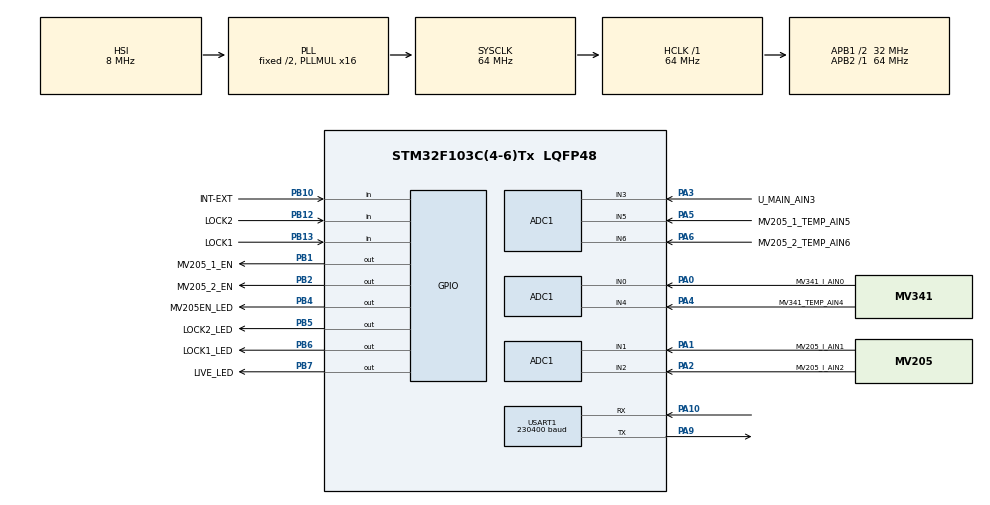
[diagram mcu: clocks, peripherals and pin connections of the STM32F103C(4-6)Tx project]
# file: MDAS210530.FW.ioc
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ADC1.Channel-0\#ChannelRegularConversion=ADC_CHANNEL_0
ADC1.ContinuousConvMode=DISABLE
ADC1.ExternalTrigConv=ADC_SOFTWARE_START
ADC1.NbrOfConversion=1
ADC1.NbrOfConversionFlag=1
ADC1.Rank-0\#ChannelRegularConversion=1
ADC1.SamplingTime-0\#ChannelRegularConversion=ADC_SAMPLETIME_1CYCLE_5
ADC1.master=1
Mcu.Family=STM32F1
Mcu.Name=STM32F103C(4-6)Tx
Mcu.Package=LQFP48
NVIC.PriorityGroup=NVIC_PRIORITYGROUP_4
NVIC.USART1_IRQn=true\:2\:0\:true\:false\:true\:true\:true\:true
PA0-WKUP.GPIO_Label=MV341_I_AIN0
PA0-WKUP.Signal=ADCx_IN0
PA1.GPIO_Label=MV205_I_AIN1
PA1.Signal=ADCx_IN1
PA10.Mode=Asynchronous
PA10.Signal=USART1_RX
PA13.Mode=Trace_Asynchronous_SW
PA13.Signal=SYS_JTMS-SWDIO
PA14.Mode=Trace_Asynchronous_SW
PA14.Signal=SYS_JTCK-SWCLK
PA2.GPIO_Label=MV205_I_AIN2
PA2.Signal=ADCx_IN2
PA3.GPIO_Label=U_MAIN_AIN3
PA3.Signal=ADCx_IN3
PA4.GPIO_Label=MV341_TEMP_AIN4
PA4.Signal=ADCx_IN4
PA5.GPIO_Label=MV205_1_TEMP_AIN5
PA5.Signal=ADCx_IN5
PA6.GPIO_Label=MV205_2_TEMP_AIN6
PA6.Signal=ADCx_IN6
PA9.Mode=Asynchronous
PA9.Signal=USART1_TX
PB1.GPIO_Label=MV205_1_EN
PB1.Signal=GPIO_Output
PB10.GPIO_Label=INT-EXT
PB10.Signal=GPIO_Input
PB12.GPIO_Label=LOCK2
PB12.Signal=GPIO_Input
PB13.GPIO_Label=LOCK1
PB13.Signal=GPIO_Input
PB2.GPIO_Label=MV205_2_EN
PB2.Signal=GPIO_Output
PB3.Mode=Trace_Asynchronous_SW
PB3.Signal=SYS_JTDO-TRACESWO
PB4.GPIO_Label=MV205EN_LED
PB4.Signal=GPIO_Output
PB5.GPIO_Label=LOCK2_LED
PB5.Signal=GPIO_Output
PB6.GPIO_Label=LOCK1_LED
PB6.Signal=GPIO_Output
PB7.GPIO_Label=LIVE_LED
PB7.Signal=GPIO_Output
ProjectManager.HeapSize=0x400
ProjectManager.StackSize=0x800
ProjectManager.TargetToolchain=STM32CubeIDE
RCC.ADCPresc=RCC_ADCPCLK2_DIV8
RCC.AHBFreq_Value=64000000
RCC.APB1CLKDivider=RCC_HCLK_DIV2
RCC.APB1Freq_Value=32000000
RCC.APB1TimFreq_Value=64000000
RCC.APB2Freq_Value=64000000
RCC.APB2TimFreq_Value=64000000
RCC.HCLKFreq_Value=64000000
RCC.PLLMUL=RCC_PLL_MUL16
RCC.SYSCLKFreq_VALUE=64000000
RCC.SYSCLKSource=RCC_SYSCLKSOURCE_PLLCLK
RCC.USBFreq_Value=64000000
SH.ADCx_IN0.0=ADC1_IN0,IN0
SH.ADCx_IN1.0=ADC1_IN1,IN1
SH.ADCx_IN2.0=ADC1_IN2,IN2
SH.ADCx_IN3.0=ADC1_IN3,IN3
SH.ADCx_IN4.0=ADC1_IN4,IN4
SH.ADCx_IN5.0=ADC1_IN5,IN5
SH.ADCx_IN6.0=ADC1_IN6,IN6
USART1.BaudRate=230400
USART1.VirtualMode=VM_ASYNC
VP_WWDG_VS_WWDG.Mode=WWDG_Activate
WWDG.Counter=127
WWDG.Prescaler=WWDG_PRESCALER_8
WWDG.Window=127
board=custom

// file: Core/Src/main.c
/* USER CODE BEGIN Header */
/**
  ******************************************************************************
  * @file           : main.c
  * @brief          : Main program body
  ******************************************************************************
  * @attention
  *
  * <h2><center>&copy; Copyright (c) 2020 STMicroelectronics.
  * All rights reserved.</center></h2>
  *
  * This software component is licensed by ST under BSD 3-Clause license,
  * the "License"; You may not use this file except in compliance with the
  * License. You may obtain a copy of the License at:
  *                        opensource.org/licenses/BSD-3-Clause
  *
  ******************************************************************************
  */
/* USER CODE END Header */
#include "main.h"

/* USER CODE BEGIN Includes */
#include <string.h>
#include "common.h"
#include "vt100.h"
#include "LiveLed.h"
#include "StringPlus.h"
#include <stdio.h>
#include <stdlib.h>
#include <math.h>
#include "ftoa.h"
/* USER CODE END Includes */

/* USER CODE BEGIN PTD */

typedef enum _CtrlStatesTypeDef
{
  SDEV_START,                   //0
  SDEV_WAIT,                    //1
  SDEV_IDLE,                    //2
  SDEV_MV341_WARMING,           //3
  SDEV_MV341_WARM_CPLT,         //4
  SDEV_MV205_1_WARMING,         //5
  SDEV_MV205_1_WARM_CPLT,       //6
  SDEV_MV205_2_WARMING,         //7
  SDEV_MV205_2_WARM_CPLT,       //8
  SDEV_WARMING_SEQ_CPLT,        //9
}CtrlStatesTypeDef;

typedef struct _DeviceTypeDef
{
  struct
  {
    CtrlStatesTypeDef Next;
    CtrlStatesTypeDef Curr;
    CtrlStatesTypeDef Pre;
  }State;

  struct _DasClock
  {
    uint32_t DI;
    uint32_t DO;
    uint32_t UpTimeSec;
  }DasClock;

  struct _Diag
  {
    uint32_t AdcUpdatedCnt;
    uint32_t AdcErrorCnt;

    uint32_t MV341_WarmUpMs;
    uint32_t MV205_1_WarmUpMs;
    uint32_t MV205_2_WarmUpMs;

    uint32_t RS485ResponseCnt;
    uint32_t RS485RequestCnt;
    uint32_t RS485UnknwonCnt;
    uint32_t RS485NotMyCmdCnt;
    uint32_t UartErrorCnt;

  }Diag;
}DeviceTypeDef;

typedef struct _AdcChannel
{
  uint32_t Channel;
  uint16_t Lsb;
  float  Result;
}AdcChannel_t;

/* USER CODE END PTD */

/* USER CODE BEGIN PD */

/*** RS485 ***/
#define RS485_BUFFER_SIZE     40
#define RS485_TX_HOLD_MS      1
#define RS485_CMD_LENGTH      35
#define RS485_ARG1_LENGTH     35
#define RS485_ARG2_LENGTH     35

/*** Address ***/
#define CLIENT_TX_ADDR        0x20
#define CLIENT_RX_ADDR        0x02

/*** DasClock ***/
#define DAS_DI_LOCK1          ((uint32_t) 1<<0)
#define DAS_DI_LOCK2          ((uint32_t) 1<<1)
#define DAS_DI_EXT_IS_EN      ((uint32_t) 1<<2)
#define DAS_DI_MV1_IS_EN      ((uint32_t) 1<<3)
#define DAS_DI_MV2_IS_EN      ((uint32_t) 1<<4)

#define DAS_DO_MV1_EN         ((uint32_t) 1<<0)
#define DAS_DO_MV2_EN         ((uint32_t) 1<<1)

#define DAS_AI_MV341_I_MA     0
#define DAS_AI_MV205_1_I_MA   1
#define DAS_AI_MV205_2_I_MA   2
#define DAS_AI_U_MAIN         3
#define DAS_AI_MV341_TEMP     4
#define DAS_AI_MV205_1_TEMP   5
#define DAS_AI_MV205_2_TEMP   6

/*** Control ***/
#define INTER_STATE_DEALY_MS  5000
#define MV341_I_LIMIT_MA      300
#define MV205_1_I_LIMIT_MA    200
#define MV205_2_I_LIMIT_MA    200
#define ADC_UPDATE_MS         100

/*** ADC ***/
#define ADC_LSB               (3.3/4096)

/* USER CODE END PD */

ADC_HandleTypeDef hadc1;

UART_HandleTypeDef huart1;

WWDG_HandleTypeDef hwwdg;

/* USER CODE BEGIN PV */
LiveLED_HnadleTypeDef hLiveLed;
DeviceTypeDef     Device;

/*** RS485 ***/
char    UartRxBuffer[RS485_BUFFER_SIZE];
char    UartTxBuffer[RS485_BUFFER_SIZE];
__IO char    UartCharacter;
__IO uint8_t UartRxBufferPtr;

/*** ADC ***/
AdcChannel_t Meas[] =
{
    { ADC_CHANNEL_0, 0, 0}, //DAS_AI_MV341_I_MA
    { ADC_CHANNEL_1, 0, 0}, //DAS_AI_MV205_1_I_MA
    { ADC_CHANNEL_2, 0, 0}, //DAS_AI_MV205_2_I_MA
    { ADC_CHANNEL_3, 0, 0}, //DAS_AI_U_MAIN
    { ADC_CHANNEL_4, 0, 0}, //DAS_AI_MV341_TEMP
    { ADC_CHANNEL_5, 0, 0}, //DAS_AI_MV205_1_TEMP
    { ADC_CHANNEL_6, 0, 0}, //DAS_AI_MV205_2_TEMP
};

#define ADC_CH_COUNT  sizeof(Meas)/sizeof(AdcChannel_t)

/* USER CODE END PV */

void SystemClock_Config(void);
static void MX_GPIO_Init(void);
static void MX_USART1_UART_Init(void);
static void MX_ADC1_Init(void);
static void MX_WWDG_Init(void);
/* USER CODE BEGIN PFP */

/*** LiveLed ***/
void LiveLedOff(void);
void LiveLedOn(void);
void SetLock2Led(FunctionalState enable);
void SetLock1Led(FunctionalState enable);
void SetMV205EnLed(FunctionalState enable);

/*** DASClock ***/
void AcdTask(void);
void ControlTask(void);
uint8_t ReadDI(void);
void WriteDO(uint8_t state);

/*** UART/RS485 ***/
char* RS485Parser(char *line);
void UartTask(void);
void RS485DirRx(void);
void RS485DirTx(void);
void RS485TxTask(void);

/*** Tools ***/
void UpTimeTask(void);

/*** ADC ***/
HAL_StatusTypeDef AdcPollChannel(uint32_t ch, uint16_t *result);
/* USER CODE END PFP */

/* USER CODE BEGIN 0 */

/* Measurements --------------------------------------------------------------*/
void AcdTask(void)
{
  static uint32_t timestamp=0;
  static uint8_t index = 0;

  if(HAL_GetTick() - timestamp > ADC_UPDATE_MS)
  {
    Device.Diag.AdcUpdatedCnt++;

    timestamp = HAL_GetTick();

    if(AdcPollChannel(Meas[index].Channel, &Meas[index].Lsb) != HAL_OK)
      Device.Diag.AdcErrorCnt++;

    if (index < 6)
      index ++;
    else
      index = 0;

    //pl:  0.050A * 0.1R * x20 = 0.1V
    //Imért = (ADC * LSB) / 20 / 0.1R * 1000mA
    Meas[DAS_AI_MV341_I_MA].Result = (Meas[DAS_AI_MV341_I_MA].Lsb * ADC_LSB) / 20 / 0.1 * 1000;
    Meas[DAS_AI_MV205_1_I_MA].Result = (Meas[DAS_AI_MV205_1_I_MA].Lsb * ADC_LSB) / 20 / 0.1 * 1000;
    Meas[DAS_AI_MV205_2_I_MA].Result = (Meas[DAS_AI_MV205_2_I_MA].Lsb * ADC_LSB) / 20 / 0.1 * 1000;

    //Ha a táp 10V, akkor R229 és R228 között 1.31V-mérhető... Uin=9.55V és 9.21V-ot jelez
    Meas[DAS_AI_U_MAIN].Result = Meas[DAS_AI_U_MAIN].Lsb * ADC_LSB* 1 / (2.4/(15 + 2.4));

    //0C = 0.5
    //10fok változás = 0.1V változás
    Meas[DAS_AI_MV341_TEMP].Result = ((Meas[DAS_AI_MV341_TEMP].Lsb * ADC_LSB) - 0.5) * 100;
    Meas[DAS_AI_MV205_1_TEMP].Result = ((Meas[DAS_AI_MV205_1_TEMP].Lsb * ADC_LSB) - 0.5) * 100;
    Meas[DAS_AI_MV205_2_TEMP].Result  = ((Meas[DAS_AI_MV205_2_TEMP].Lsb * ADC_LSB) - 0.5) * 100;
  }
}

HAL_StatusTypeDef AdcPollChannel(uint32_t ch, uint16_t *result)
{
  HAL_StatusTypeDef status;
  ADC_ChannelConfTypeDef sConfig = {0};
  sConfig.Channel =  ch;;
  sConfig.Rank = ADC_REGULAR_RANK_1;
  sConfig.SamplingTime = ADC_SAMPLETIME_1CYCLE_5;
  if ((status = HAL_ADC_ConfigChannel(&hadc1, &sConfig)) != HAL_OK)
    return status;
  if((status = HAL_ADC_Start(&hadc1)) != HAL_OK)
    return status;
  if((HAL_ADC_PollForConversion(&hadc1, 100)) != HAL_OK)
    return status;
  *result = HAL_ADC_GetValue(&hadc1);
  if((status = HAL_ADC_Stop(&hadc1)) != HAL_OK)
    return status;
  return HAL_OK;
}

/* UART-RS485-----------------------------------------------------------------*/
void HAL_UART_RxCpltCallback(UART_HandleTypeDef *context)
{
  if(HAL_UART_Receive_IT(context, (uint8_t *)&UartCharacter, 1) != HAL_OK)
    Device.Diag.UartErrorCnt++;
  else
  {
    if(UartRxBufferPtr < RS485_BUFFER_SIZE - 1)
    {
      if(UartCharacter == '\n')
      {
        UartRxBuffer[UartRxBufferPtr] = '\0';
        strcpy(UartTxBuffer, RS485Parser(UartRxBuffer));
        UartRxBufferPtr = 0;
      }
      else
        UartRxBuffer[UartRxBufferPtr++] = UartCharacter;
    }
    else
    {
      UartRxBufferPtr = 0;
      memset(UartRxBuffer,0x00, RS485_BUFFER_SIZE);
    }
  }
}

void HAL_UART_ErrorCallback(UART_HandleTypeDef *huart)
{
  Device.Diag.UartErrorCnt++;
  __HAL_UART_CLEAR_PEFLAG(huart);
  __HAL_UART_CLEAR_FEFLAG(huart);
  __HAL_UART_CLEAR_NEFLAG(huart);
  __HAL_UART_CLEAR_OREFLAG(huart);

  if(HAL_UART_Receive_IT(huart, (uint8_t *)&UartCharacter, 1) != HAL_OK)
    Device.Diag.UartErrorCnt++;
}

char* RS485Parser(char *line)
{
  unsigned int addr = 0;
  char buffer[RS485_BUFFER_SIZE];
  char cmd[RS485_CMD_LENGTH];
  char arg1[RS485_ARG1_LENGTH];
  char arg2[RS485_ARG2_LENGTH];

  memset(buffer, 0x00, RS485_BUFFER_SIZE);
  memset(cmd,0x00, RS485_CMD_LENGTH);
  memset(arg1,0x00, RS485_ARG1_LENGTH);
  memset(arg2,0x00, RS485_ARG2_LENGTH);

  sscanf(line, "#%x %s",&addr, cmd);
  if(addr != CLIENT_RX_ADDR)
  {
    Device.Diag.RS485NotMyCmdCnt++;
    return NULL;
  }
  Device.Diag.RS485RequestCnt++;

  if(!strcmp(cmd, "*OPC?"))
  {
    strcpy(buffer, "OK");
  }
  else if(!strcmp(cmd, "FW?"))
  {
    sprintf(buffer, "FW %s", DEVICE_FW);
  }
  else if(!strcmp(cmd, "UID?"))
  {
    sprintf(buffer, "UID %4lX%4lX%4lX",HAL_GetUIDw0(), HAL_GetUIDw1(), HAL_GetUIDw2());
  }
  else if(!strcmp(cmd, "PCB?"))
  {
    sprintf(buffer, "PCB %s", DEVICE_PCB);
  }
  else if(!strcmp(cmd,"UPTIME?"))
  {
     sprintf(buffer, "UPTIME %08lX", Device.DasClock.UpTimeSec);
  }
  else if(!strcmp(cmd,"DI?"))
  {
     sprintf(buffer, "DI %08lX", Device.DasClock.DI);
  }
  else if(!strcmp(cmd,"DO?"))
  {
     sprintf(buffer, "DO %08lX", Device.DasClock.DO);
  }
  else if(!strcmp(cmd,"UE?"))
  {
    sprintf(buffer, "UE %08lX", Device.Diag.UartErrorCnt);
  }
  else if(!strcmp(cmd,"DO"))
  {
    sscanf(line, "#%x %s %s",&addr, cmd, arg1);
    Device.DasClock.DO = strtol(arg1, NULL, 16);
    strcpy(buffer, "OK");
  }
  else if(!strcmp(cmd,"AI?"))
  {
    sscanf(line, "#%x %s %s",&addr, cmd, arg1);
    uint8_t ch = strtol(arg1, NULL, 10);
    if(ch < ADC_CH_COUNT)
    {
      char fstr[20];
      ftoa(Meas[ch].Result, fstr, 2);
      sprintf(buffer, "AI %d %s", ch, fstr );
    }
    else
    {
      strcpy(buffer, "AI !invalid channel");
    }
  }
  else
  {
    Device.Diag.RS485UnknwonCnt++;
  }

  static char resp[RS485_BUFFER_SIZE + 5];
  memset(resp, 0x00, RS485_BUFFER_SIZE);
  sprintf(resp, "#%02X %s", CLIENT_TX_ADDR, buffer);
  strcat(resp,"\n");
  return resp;
}

void RS485TxTask(void)
{
  uint8_t txn=strlen(UartTxBuffer);
  if( txn != 0)
  {
    Device.Diag.RS485ResponseCnt++;
    RS485DirTx();
    DelayMs(RS485_TX_HOLD_MS);
    HAL_UART_Transmit(&huart1, (uint8_t*) UartTxBuffer, txn, 100);
    UartTxBuffer[0] = 0;
    RS485DirRx();
  }
}

void RS485DirTx(void)
{
  HAL_GPIO_WritePin(LOCK1_LED_GPIO_Port, LOCK1_LED_Pin, GPIO_PIN_SET);
  //HAL_GPIO_WritePin(USART1_DIR_GPIO_Port, USART1_DIR_Pin, GPIO_PIN_SET);
}

void RS485DirRx(void)
{
  HAL_GPIO_WritePin(LOCK1_LED_GPIO_Port, LOCK1_LED_Pin, GPIO_PIN_RESET);
  //HAL_GPIO_WritePin(USART1_DIR_GPIO_Port, USART1_DIR_Pin, GPIO_PIN_RESET);
}

/* StateMachineTask -----------------------------------------------------------*/
void ControlTask(void)
{
  static uint32_t timestamp = 0;

  switch (Device.State.Curr)
  {
     case SDEV_START:
     {
         Device.State.Next = SDEV_WAIT;
         timestamp = HAL_GetTick();
       break;
     }

     case SDEV_WAIT:
     {
       if((HAL_GetTick() - timestamp) > INTER_STATE_DEALY_MS )
       {
         Device.State.Next = SDEV_IDLE;
       }
       break;
     }

     case SDEV_IDLE:
     {
       if(Device.DasClock.DI & DAS_DI_EXT_IS_EN)
       {
         Device.State.Next = SDEV_MV205_1_WARMING;
       }
       else
       {
         Device.State.Next = SDEV_MV341_WARMING;
       }
       break;
     }
     case SDEV_MV341_WARMING:
     {
       if(Device.State.Pre != Device.State.Curr)
       {
         timestamp = HAL_GetTick();
         Device.Diag.MV341_WarmUpMs = 0;
       }

       if(Meas[DAS_AI_MV341_I_MA].Result < MV341_I_LIMIT_MA)
       {
         Device.State.Next = SDEV_MV341_WARM_CPLT;
         Device.Diag.MV341_WarmUpMs = HAL_GetTick() -  timestamp;
       }
       else
       {
         if(Device.DasClock.DI & DAS_DI_EXT_IS_EN)
         {
           Device.Diag.MV341_WarmUpMs = 0;
           Device.State.Next = SDEV_MV205_1_WARMING;
         }
       }
       break;
     }
     case SDEV_MV341_WARM_CPLT:
     {
       if(Device.State.Pre != Device.State.Curr)
       {
         timestamp = HAL_GetTick();
         Device.DasClock.DO |= DAS_DO_MV1_EN;
       }

       if((HAL_GetTick() - timestamp) > INTER_STATE_DEALY_MS)
       {
         Device.State.Next = SDEV_MV205_1_WARMING;
       }
       break;
     }
     case SDEV_MV205_1_WARMING:
     {
       if(Device.State.Pre != Device.State.Curr)
       {
         timestamp = HAL_GetTick();
         Device.Diag.MV205_1_WarmUpMs = 0;
       }

       if(Meas[DAS_AI_MV205_1_I_MA].Result < MV205_1_I_LIMIT_MA)
       {
         Device.State.Next = SDEV_MV205_1_WARM_CPLT;
         Device.Diag.MV205_1_WarmUpMs = HAL_GetTick() -  timestamp;
       }
       break;
     }
     case SDEV_MV205_1_WARM_CPLT:
     {
       if(Device.State.Pre != Device.State.Curr)
       {
         Device.DasClock.DO |= DAS_DO_MV2_EN;
         timestamp = HAL_GetTick();
       }
       if((HAL_GetTick() - timestamp) > INTER_STATE_DEALY_MS)
       {
         Device.State.Next = SDEV_MV205_2_WARMING;
       }
       break;
     }
     case SDEV_MV205_2_WARMING:
     {
       if(Device.State.Pre != Device.State.Curr)
       {
         timestamp = HAL_GetTick();
         Device.Diag.MV205_2_WarmUpMs = 0;
       }

       if(Meas[DAS_AI_MV205_2_I_MA].Result < MV205_2_I_LIMIT_MA)
       {
         Device.State.Next = SDEV_MV205_2_WARM_CPLT;
         Device.Diag.MV205_2_WarmUpMs = HAL_GetTick() -  timestamp;
       }
       break;
     }
     case SDEV_MV205_2_WARM_CPLT:
     {
       if(Device.State.Pre != Device.State.Curr)
       {
         timestamp = HAL_GetTick();
       }
       if((HAL_GetTick() - timestamp) > INTER_STATE_DEALY_MS)
       {
         Device.State.Next = SDEV_WARMING_SEQ_CPLT;
       }
       break;
     }
     case SDEV_WARMING_SEQ_CPLT:
     {
       break;
     }
  }

  Device.State.Pre = Device.State.Curr;
  Device.State.Curr = Device.State.Next;
}

/* USER CODE END 0 */

int main(void)
{

  /* MCU Configuration--------------------------------------------------------*/

  /* Reset of all peripherals, Initializes the Flash interface and the Systick. */
  HAL_Init();

  /* USER CODE BEGIN Init */
  /*** LiveLed ***/
  hLiveLed.LedOffFnPtr = &LiveLedOff;
  hLiveLed.LedOnFnPtr = &LiveLedOn;
  hLiveLed.HalfPeriodTimeMs = 500;
  LiveLedInit(&hLiveLed);
  /* USER CODE END Init */

  /* Configure the system clock */
  SystemClock_Config();

  /* Initialize all configured peripherals */
  MX_GPIO_Init();
  MX_USART1_UART_Init();
  MX_ADC1_Init();
  MX_WWDG_Init();
  /* USER CODE BEGIN 2 */

  /*** Clocks ***/
  Device.DasClock.DO &= ~(DAS_DO_MV1_EN);
  Device.DasClock.DO &= ~(DAS_DO_MV2_EN);

  /*** RS485 ***/
  RS485DirRx();

  /*** Check if the system has resumed from WWDG reset ***/
  if (__HAL_RCC_GET_FLAG(RCC_FLAG_WWDGRST) != RESET)
  {
    //ToDo
  }

  /* USER CODE END 2 */

  /* Infinite loop */
  /* USER CODE BEGIN WHILE */
  static uint32_t timestamp;
  while (1)
  {
    HAL_WWDG_Refresh(&hwwdg);
    if(HAL_GetTick() - timestamp > 100)
    {
      timestamp = HAL_GetTick();
      Device.DasClock.DI = ReadDI();
      WriteDO(Device.DasClock.DO);

      SetMV205EnLed((Device.DasClock.DO & DAS_DO_MV1_EN) && (Device.DasClock.DO & DAS_DO_MV1_EN));
      SetLock1Led(Device.DasClock.DI & DAS_DI_LOCK1);
      SetLock2Led(Device.DasClock.DI & DAS_DI_LOCK2);
      if(Device.DasClock.DO & DAS_DO_MV1_EN)
        Device.DasClock.DI |= DAS_DI_MV1_IS_EN;
      if(Device.DasClock.DO & DAS_DO_MV2_EN)
        Device.DasClock.DI |= DAS_DI_MV2_IS_EN;
    }

    LiveLedTask(&hLiveLed);
    AcdTask();
    UpTimeTask();
    ControlTask();
    RS485TxTask();

    /* USER CODE END WHILE */

  }
}

void SystemClock_Config(void)
{
  RCC_OscInitTypeDef RCC_OscInitStruct = {0};
  RCC_ClkInitTypeDef RCC_ClkInitStruct = {0};
  RCC_PeriphCLKInitTypeDef PeriphClkInit = {0};

  /** Initializes the RCC Oscillators according to the specified parameters
  * in the RCC_OscInitTypeDef structure.
  */
  RCC_OscInitStruct.OscillatorType = RCC_OSCILLATORTYPE_HSI;
  RCC_OscInitStruct.HSIState = RCC_HSI_ON;
  RCC_OscInitStruct.HSICalibrationValue = RCC_HSICALIBRATION_DEFAULT;
  RCC_OscInitStruct.PLL.PLLState = RCC_PLL_ON;
  RCC_OscInitStruct.PLL.PLLSource = RCC_PLLSOURCE_HSI_DIV2;
  RCC_OscInitStruct.PLL.PLLMUL = RCC_PLL_MUL16;
  if (HAL_RCC_OscConfig(&RCC_OscInitStruct) != HAL_OK)
  {
    Error_Handler();
  }

  /** Initializes the CPU, AHB and APB buses clocks
  */
  RCC_ClkInitStruct.ClockType = RCC_CLOCKTYPE_HCLK|RCC_CLOCKTYPE_SYSCLK
                              |RCC_CLOCKTYPE_PCLK1|RCC_CLOCKTYPE_PCLK2;
  RCC_ClkInitStruct.SYSCLKSource = RCC_SYSCLKSOURCE_PLLCLK;
  RCC_ClkInitStruct.AHBCLKDivider = RCC_SYSCLK_DIV1;
  RCC_ClkInitStruct.APB1CLKDivider = RCC_HCLK_DIV2;
  RCC_ClkInitStruct.APB2CLKDivider = RCC_HCLK_DIV1;

  if (HAL_RCC_ClockConfig(&RCC_ClkInitStruct, FLASH_LATENCY_2) != HAL_OK)
  {
    Error_Handler();
  }
  PeriphClkInit.PeriphClockSelection = RCC_PERIPHCLK_ADC;
  PeriphClkInit.AdcClockSelection = RCC_ADCPCLK2_DIV8;
  if (HAL_RCCEx_PeriphCLKConfig(&PeriphClkInit) != HAL_OK)
  {
    Error_Handler();
  }
}

static void MX_ADC1_Init(void)
{

  ADC_ChannelConfTypeDef sConfig = {0};

  /** Common config
  */
  hadc1.Instance = ADC1;
  hadc1.Init.ScanConvMode = ADC_SCAN_DISABLE;
  hadc1.Init.ContinuousConvMode = DISABLE;
  hadc1.Init.DiscontinuousConvMode = DISABLE;
  hadc1.Init.ExternalTrigConv = ADC_SOFTWARE_START;
  hadc1.Init.DataAlign = ADC_DATAALIGN_RIGHT;
  hadc1.Init.NbrOfConversion = 1;
  if (HAL_ADC_Init(&hadc1) != HAL_OK)
  {
    Error_Handler();
  }

  /** Configure Regular Channel
  */
  sConfig.Channel = ADC_CHANNEL_0;
  sConfig.Rank = ADC_REGULAR_RANK_1;
  sConfig.SamplingTime = ADC_SAMPLETIME_1CYCLE_5;
  if (HAL_ADC_ConfigChannel(&hadc1, &sConfig) != HAL_OK)
  {
    Error_Handler();
  }

}

static void MX_USART1_UART_Init(void)
{

  huart1.Instance = USART1;
  huart1.Init.BaudRate = 230400;
  huart1.Init.WordLength = UART_WORDLENGTH_8B;
  huart1.Init.StopBits = UART_STOPBITS_1;
  huart1.Init.Parity = UART_PARITY_NONE;
  huart1.Init.Mode = UART_MODE_TX_RX;
  huart1.Init.HwFlowCtl = UART_HWCONTROL_NONE;
  huart1.Init.OverSampling = UART_OVERSAMPLING_16;
  if (HAL_UART_Init(&huart1) != HAL_OK)
  {
    Error_Handler();
  }
  /* USER CODE BEGIN USART1_Init 2 */
  if(HAL_UART_Receive_IT(&huart1, (uint8_t *)&UartCharacter, 1) != HAL_OK)
    Device.Diag.UartErrorCnt++;
  /* USER CODE END USART1_Init 2 */

}

static void MX_WWDG_Init(void)
{

  hwwdg.Instance = WWDG;
  hwwdg.Init.Prescaler = WWDG_PRESCALER_8;
  hwwdg.Init.Window = 127;
  hwwdg.Init.Counter = 127;
  hwwdg.Init.EWIMode = WWDG_EWI_DISABLE;
  if (HAL_WWDG_Init(&hwwdg) != HAL_OK)
  {
    Error_Handler();
  }

}

static void MX_GPIO_Init(void)
{
  GPIO_InitTypeDef GPIO_InitStruct = {0};

  /* GPIO Ports Clock Enable */
  __HAL_RCC_GPIOA_CLK_ENABLE();
  __HAL_RCC_GPIOB_CLK_ENABLE();

  /*Configure GPIO pin Output Level */
  HAL_GPIO_WritePin(GPIOB, MV205_1_EN_Pin|MV205_2_EN_Pin|MV205EN_LED_Pin|LOCK2_LED_Pin
                          |LOCK1_LED_Pin|LIVE_LED_Pin, GPIO_PIN_RESET);

  /*Configure GPIO pins : MV205_1_EN_Pin MV205_2_EN_Pin MV205EN_LED_Pin LOCK2_LED_Pin
                           LOCK1_LED_Pin LIVE_LED_Pin */
  GPIO_InitStruct.Pin = MV205_1_EN_Pin|MV205_2_EN_Pin|MV205EN_LED_Pin|LOCK2_LED_Pin
                          |LOCK1_LED_Pin|LIVE_LED_Pin;
  GPIO_InitStruct.Mode = GPIO_MODE_OUTPUT_PP;
  GPIO_InitStruct.Pull = GPIO_NOPULL;
  GPIO_InitStruct.Speed = GPIO_SPEED_FREQ_LOW;
  HAL_GPIO_Init(GPIOB, &GPIO_InitStruct);

  /*Configure GPIO pins : INT_EXT_Pin LOCK2_Pin LOCK1_Pin */
  GPIO_InitStruct.Pin = INT_EXT_Pin|LOCK2_Pin|LOCK1_Pin;
  GPIO_InitStruct.Mode = GPIO_MODE_INPUT;
  GPIO_InitStruct.Pull = GPIO_NOPULL;
  HAL_GPIO_Init(GPIOB, &GPIO_InitStruct);

}

/* USER CODE BEGIN 4 */

/* LiveLed -------------------------------------------------------------------*/
void LiveLedOn(void)
{
  HAL_GPIO_WritePin(LIVE_LED_GPIO_Port, LIVE_LED_Pin, GPIO_PIN_SET);
}

void LiveLedOff(void)
{
  HAL_GPIO_WritePin(LIVE_LED_GPIO_Port, LIVE_LED_Pin, GPIO_PIN_RESET);
}

/* DasClock-------------------------------------------------------------------*/
void SetMV205EnLed(FunctionalState enable)
{
  if(enable == ENABLE)
    HAL_GPIO_WritePin(MV205EN_LED_GPIO_Port, MV205EN_LED_Pin, GPIO_PIN_SET);
  else
    HAL_GPIO_WritePin(MV205EN_LED_GPIO_Port, MV205EN_LED_Pin, GPIO_PIN_RESET);
}

void SetLock1Led(FunctionalState enable)
{
  /*
  if(enable == ENABLE)
    HAL_GPIO_WritePin(LOCK1_LED_GPIO_Port, LOCK1_LED_Pin, GPIO_PIN_SET);
  else
    HAL_GPIO_WritePin(LOCK1_LED_GPIO_Port, LOCK1_LED_Pin, GPIO_PIN_RESET);
   */
}

void SetLock2Led(FunctionalState enable)
{
  if(enable == ENABLE)
    HAL_GPIO_WritePin(LOCK2_LED_GPIO_Port, LOCK2_LED_Pin, GPIO_PIN_SET);
  else
    HAL_GPIO_WritePin(LOCK2_LED_GPIO_Port, LOCK2_LED_Pin, GPIO_PIN_RESET);
}

uint8_t ReadDI(void)
{
  uint8_t state = 0;

  if( HAL_GPIO_ReadPin(LOCK1_GPIO_Port,LOCK1_Pin) == GPIO_PIN_SET)
    state |= DAS_DI_LOCK1;

  if( HAL_GPIO_ReadPin(LOCK2_GPIO_Port,LOCK2_Pin) == GPIO_PIN_SET)
    state |= DAS_DI_LOCK2;

  if(HAL_GPIO_ReadPin(INT_EXT_GPIO_Port, INT_EXT_Pin ) == GPIO_PIN_SET)
    state |= DAS_DI_EXT_IS_EN;

  return state;
}

void WriteDO(uint8_t state)
{
  if(state & DAS_DO_MV1_EN)
    HAL_GPIO_WritePin(MV205_1_EN_GPIO_Port, MV205_1_EN_Pin, GPIO_PIN_RESET);
  else
    HAL_GPIO_WritePin(MV205_1_EN_GPIO_Port, MV205_1_EN_Pin, GPIO_PIN_SET);

  if(state & DAS_DO_MV2_EN)
    HAL_GPIO_WritePin(MV205_2_EN_GPIO_Port, MV205_2_EN_Pin, GPIO_PIN_RESET);
  else
    HAL_GPIO_WritePin(MV205_2_EN_GPIO_Port, MV205_2_EN_Pin, GPIO_PIN_SET);
};

/* Tools----------------------------------------------------------------------*/
void UpTimeTask(void)
{
  static uint32_t timestamp;

  if(HAL_GetTick() - timestamp > 1000)
  {
    timestamp = HAL_GetTick();
    Device.DasClock.UpTimeSec++;
  }
}

/* USER CODE END 4 */

void Error_Handler(void)
{
}
